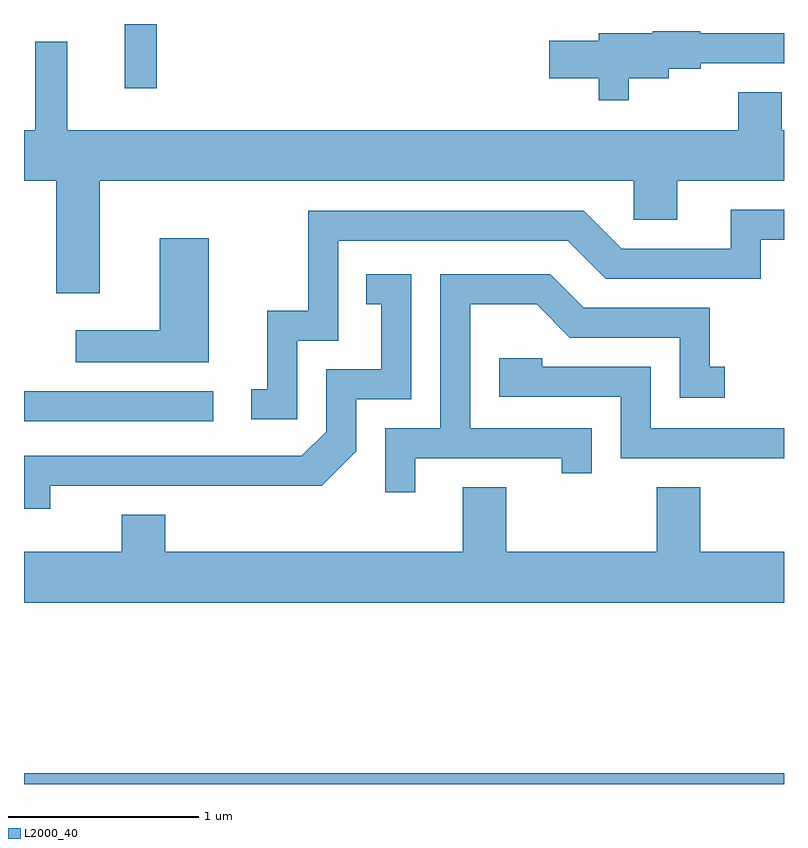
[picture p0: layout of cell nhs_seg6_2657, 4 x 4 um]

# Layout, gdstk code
import gdstk
lib = gdstk.Library(unit=1e-6, precision=1e-09)
def R(c, l, rs):  # rectangles x0, y0, x1, y1
    for r in rs: c.add(gdstk.rectangle(r[:2], r[2:], *l))
def P(c, l, *ps):  # polygons
    for p in ps: c.add(gdstk.Polygon(p, *l))
L2000_40 = (2000, 40)

nhs_seg6_2657 = lib.new_cell('nhs_seg6_2657')
R(nhs_seg6_2657, L2000_40, [(265.611,1580.162,269.611,1580.219), (265.611,1582.071,266.608,1582.229), (266.141,1583.823,266.309,1584.162)])
P(nhs_seg6_2657, L2000_40, [(268.794,1583.876),(269.004,1583.876),(269.004,1583.926),(269.174,1583.926),(269.174,1583.956),(269.611,1583.956),(269.611,1584.114),(269.17,1584.114),(269.17,1584.124),(268.92,1584.124),(268.92,1584.114),(268.636,1584.114),(268.636,1584.074),(268.376,1584.074),(268.376,1583.876),(268.636,1583.876),(268.636,1583.761),(268.794,1583.761)],
  [(266.009,1583.336),(268.821,1583.336),(268.821,1583.131),(269.049,1583.131),(269.049,1583.336),(269.611,1583.336),(269.611,1583.604),(269.599,1583.604),(269.599,1583.804),(269.371,1583.804),(269.371,1583.604),(265.839,1583.604),(265.839,1584.068),(265.671,1584.068),(265.671,1583.604),(265.611,1583.604),(265.611,1583.336),(265.781,1583.336),(265.781,1582.746),(266.009,1582.746)],
  [(267.049,1582.496),(267.264,1582.496),(267.264,1583.021),(268.474,1583.021),(268.674,1582.821),(269.489,1582.821),(269.489,1583.026),(269.611,1583.026),(269.611,1583.184),(269.331,1583.184),(269.331,1582.979),(268.757,1582.979),(268.557,1583.179),(267.106,1583.179),(267.106,1582.654),(266.891,1582.654),(266.891,1582.239),(266.808,1582.239),(266.808,1582.081),(267.049,1582.081)],
  [(266.584,1583.034),(266.326,1583.034),(266.326,1582.549),(265.883,1582.549),(265.883,1582.381),(266.584,1582.381)],
  [(267.669,1581.876),(268.441,1581.876),(268.441,1581.798),(268.599,1581.798),(268.599,1582.034),(267.959,1582.034),(267.959,1582.686),(268.309,1582.686),(268.484,1582.511),(269.061,1582.511),(269.061,1582.196),(269.298,1582.196),(269.298,1582.359),(269.219,1582.359),(269.219,1582.669),(268.557,1582.669),(268.382,1582.844),(267.801,1582.844),(267.801,1582.034),(267.511,1582.034),(267.511,1581.698),(267.669,1581.698)],
  [(265.749,1581.731),(267.177,1581.731),(267.359,1581.914),(267.359,1582.186),(267.649,1582.186),(267.649,1582.844),(267.413,1582.844),(267.413,1582.686),(267.491,1582.686),(267.491,1582.344),(267.201,1582.344),(267.201,1582.017),(267.074,1581.889),(265.611,1581.889),(265.611,1581.611),(265.749,1581.611)],
  [(269.611,1582.034),(268.909,1582.034),(268.909,1582.359),(268.339,1582.359),(268.339,1582.404),(268.111,1582.404),(268.111,1582.201),(268.751,1582.201),(268.751,1581.876),(269.611,1581.876)],
  [(269.611,1581.384),(269.169,1581.384),(269.169,1581.724),(268.941,1581.724),(268.941,1581.384),(268.149,1581.384),(268.149,1581.724),(267.921,1581.724),(267.921,1581.384),(266.354,1581.384),(266.354,1581.579),(266.126,1581.579),(266.126,1581.384),(265.611,1581.384),(265.611,1581.116),(269.611,1581.116)])

lib.write_gds('nhs_seg6_2657.gds')
